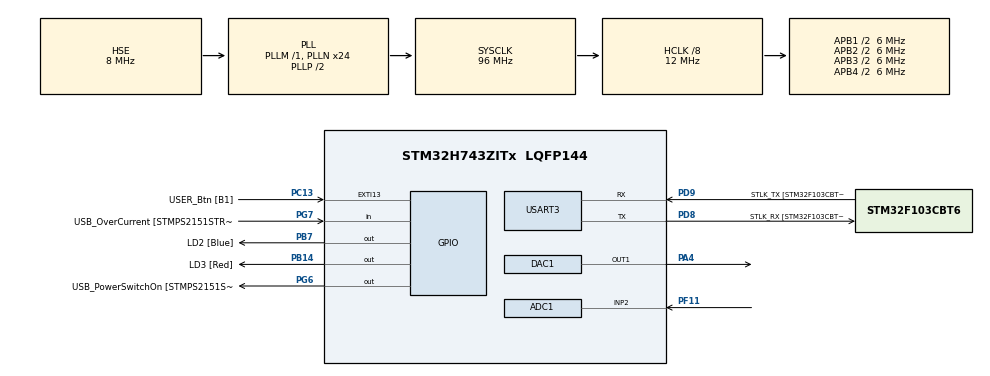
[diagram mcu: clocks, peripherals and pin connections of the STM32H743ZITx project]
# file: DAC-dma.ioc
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ADC1.Channel-3\#ChannelRegularConversion=ADC_CHANNEL_2
ADC1.ClockPrescaler=ADC_CLOCK_SYNC_PCLK_DIV4
ADC1.ContinuousConvMode=DISABLE
ADC1.ConversionDataManagement=ADC_CONVERSIONDATA_DR
ADC1.EOCSelection=ADC_EOC_SEQ_CONV
ADC1.EnableRegularConversion=ENABLE
ADC1.ExternalTrigConv=ADC_EXTERNALTRIG_T3_TRGO
ADC1.Mode=ADC_MODE_INDEPENDENT
ADC1.NbrOfConversionFlag=1
ADC1.OffsetNumber-3\#ChannelRegularConversion=ADC_OFFSET_NONE
ADC1.Overrun=ADC_OVR_DATA_PRESERVED
ADC1.Rank-3\#ChannelRegularConversion=1
ADC1.SamplingTime-3\#ChannelRegularConversion=ADC_SAMPLETIME_387CYCLES_5
ADC1.master=1
DAC1.DAC_Trigger-DAC_OUT1_ExtAndInt=DAC_TRIGGER_T6_TRGO
Dma.DAC1_CH1.0.Direction=DMA_MEMORY_TO_PERIPH
Dma.DAC1_CH1.0.EventEnable=DISABLE
Dma.DAC1_CH1.0.FIFOMode=DMA_FIFOMODE_DISABLE
Dma.DAC1_CH1.0.Instance=DMA1_Stream0
Dma.DAC1_CH1.0.MemDataAlignment=DMA_MDATAALIGN_HALFWORD
Dma.DAC1_CH1.0.MemInc=DMA_MINC_ENABLE
Dma.DAC1_CH1.0.Mode=DMA_CIRCULAR
Dma.DAC1_CH1.0.PeriphDataAlignment=DMA_PDATAALIGN_HALFWORD
Dma.DAC1_CH1.0.PeriphInc=DMA_PINC_DISABLE
Dma.DAC1_CH1.0.Polarity=HAL_DMAMUX_REQ_GEN_RISING
Dma.DAC1_CH1.0.Priority=DMA_PRIORITY_LOW
Dma.DAC1_CH1.0.RequestNumber=1
Dma.DAC1_CH1.0.SignalID=NONE
Dma.DAC1_CH1.0.SyncEnable=DISABLE
Dma.DAC1_CH1.0.SyncPolarity=HAL_DMAMUX_SYNC_NO_EVENT
Dma.DAC1_CH1.0.SyncRequestNumber=1
Dma.DAC1_CH1.0.SyncSignalID=NONE
Dma.Request0=DAC1_CH1
Mcu.Family=STM32H7
Mcu.Name=STM32H743ZITx
Mcu.Package=LQFP144
NVIC.ADC_IRQn=true\:0\:0\:false\:false\:true\:true\:true
NVIC.DMA1_Stream0_IRQn=true\:0\:0\:false\:false\:true\:false\:true
NVIC.PriorityGroup=NVIC_PRIORITYGROUP_4
NVIC.TIM6_DAC_IRQn=true\:0\:0\:true\:false\:true\:true\:true
NVIC.USART3_IRQn=true\:0\:0\:false\:false\:true\:true\:true
PA1.GPIO_Label=RMII_REF_CLK
PA1.Signal=ETH_REF_CLK
PA10.GPIO_Label=USB_ID
PA10.Signal=USB_OTG_FS_ID
PA11.GPIO_Label=USB_DM
PA11.Signal=USB_OTG_FS_DM
PA12.GPIO_Label=USB_DP
PA12.Signal=USB_OTG_FS_DP
PA2.GPIO_Label=RMII_MDIO
PA2.Signal=ETH_MDIO
PA4.Signal=COMP_DAC11_group
PA7.GPIO_Label=RMII_CRS_DV
PA7.Signal=ETH_CRS_DV
PA8.GPIO_Label=USB_SOF [TP1]
PA8.Signal=USB_OTG_FS_SOF
PA9.GPIO_Label=USB_VBUS
PA9.Signal=USB_OTG_FS_VBUS
PB13.GPIO_Label=RMII_TXD1
PB13.Signal=ETH_TXD1
PB14.GPIO_Label=LD3 [Red]
PB14.Signal=GPIO_Output
PB7.GPIO_Label=LD2 [Blue]
PB7.Signal=GPIO_Output
PC1.GPIO_Label=RMII_MDC
PC1.Signal=ETH_MDC
PC13.GPIO_Label=USER_Btn [B1]
PC13.Signal=GPXTI13
PC14-OSC32_IN\ (OSC32_IN).Mode=LSE-External-Oscillator
PC14-OSC32_IN\ (OSC32_IN).Signal=RCC_OSC32_IN
PC15-OSC32_OUT\ (OSC32_OUT).Mode=LSE-External-Oscillator
PC15-OSC32_OUT\ (OSC32_OUT).Signal=RCC_OSC32_OUT
PC4.GPIO_Label=RMII_RXD0
PC4.Signal=ETH_RXD0
PC5.GPIO_Label=RMII_RXD1
PC5.Signal=ETH_RXD1
PD8.GPIO_Label=STLK_RX [STM32F103CBT6_PA3]
PD8.Mode=Asynchronous
PD8.Signal=USART3_TX
PD9.GPIO_Label=STLK_TX [STM32F103CBT6_PA2]
PD9.Mode=Asynchronous
PD9.Signal=USART3_RX
PF11.Mode=IN2-Single-Ended
PF11.Signal=ADC1_INP2
PG11.GPIO_Label=RMII_TX_EN
PG11.Signal=ETH_TX_EN
PG13.GPIO_Label=RMII_TXD0
PG13.Signal=ETH_TXD0
PG6.GPIO_Label=USB_PowerSwitchOn [STMPS2151STR_EN]
PG6.Signal=GPIO_Output
PG7.GPIO_Label=USB_OverCurrent [STMPS2151STR_FAULT]
PG7.Signal=GPIO_Input
PH0-OSC_IN\ (PH0).GPIO_Label=MCO
PH0-OSC_IN\ (PH0).Mode=HSE-External-Clock-Source
PH0-OSC_IN\ (PH0).Signal=RCC_OSC_IN
PH1-OSC_OUT\ (PH1).Mode=HSE-External-Clock-Source
PH1-OSC_OUT\ (PH1).Signal=RCC_OSC_OUT
ProjectManager.HeapSize=0x200
ProjectManager.StackSize=0x400
ProjectManager.TargetToolchain=EWARM V8
RCC.48MHZClocksFreq_Value=24000000
RCC.ADCFreq_Value=24000000
RCC.AHBFreq_Value=216000000
RCC.APB1CLKDivider=RCC_HCLK_DIV4
RCC.APB1Freq_Value=6000000
RCC.APB1TimFreq_Value=108000000
RCC.APB2CLKDivider=RCC_HCLK_DIV2
RCC.APB2Freq_Value=6000000
RCC.APB2TimFreq_Value=216000000
RCC.APB3Freq_Value=6000000
RCC.APB4Freq_Value=6000000
RCC.CortexFreq_Value=96000000
RCC.D1PPRE=RCC_APB3_DIV2
RCC.D2PPRE1=RCC_APB1_DIV2
RCC.D2PPRE2=RCC_APB2_DIV2
RCC.D3PPRE=RCC_APB4_DIV2
RCC.DIVM1=1
RCC.DIVM2=1
RCC.DIVN1=24
RCC.DIVN2=24
RCC.DIVP2=8
RCC.DIVQ1=17
RCC.HCLKFreq_Value=12000000
RCC.HPRE=RCC_HCLK_DIV8
RCC.HSE_VALUE=8000000
RCC.HSI_VALUE=64000000
RCC.PLLM=25
RCC.PLLMUL=RCC_PLL_MUL9
RCC.PLLN=432
RCC.PLLQ=9
RCC.PLLSourceVirtual=RCC_PLLSOURCE_HSE
RCC.PRESCALERUSB=RCC_USBCLKSOURCE_PLL_DIV1_5
RCC.PWR_Regulator_Voltage_Scale=PWR_REGULATOR_VOLTAGE_SCALE1
RCC.SYSCLKFreq_VALUE=96000000
RCC.SYSCLKSource=RCC_SYSCLKSOURCE_PLLCLK
RCC.SYSCLKSourceVirtual=RCC_SYSCLKSOURCE_PLLCLK
RCC.USBCLockSelection=RCC_USBCLKSOURCE_HSI48
RCC.USBFreq_Value=48000000
RCC.VCOOutputFreq_Value=432000000
SH.COMP_DAC11_group.0=DAC1_OUT1,DAC_OUT1_ExtAndInt
TIM3.Period=1
TIM3.Prescaler=95
TIM3.TIM_MasterOutputTrigger=TIM_TRGO_UPDATE
TIM6.Period=1
TIM6.Prescaler=399
TIM6.TIM_MasterOutputTrigger=TIM_TRGO_UPDATE
USART3.DMADisableonRxErrorParam=ADVFEATURE_DMA_ENABLEONRXERROR
USART3.OverrunDisableParam=ADVFEATURE_OVERRUN_ENABLE
USART3.VirtualMode-Asynchronous=VM_ASYNC
VP_TIM3_VS_ClockSourceINT.Mode=Internal
VP_TIM6_VS_ClockSourceINT.Mode=Enable_Timer
board=NUCLEO-H743ZI

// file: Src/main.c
/* USER CODE BEGIN Header */
/**
  ******************************************************************************
  * @file           : main.c
  * @brief          : Main program body
  ******************************************************************************
  * @attention
  *
  * <h2><center>&copy; Copyright (c) 2020 STMicroelectronics.
  * All rights reserved.</center></h2>
  *
  * This software component is licensed by ST under BSD 3-Clause license,
  * the "License"; You may not use this file except in compliance with the
  * License. You may obtain a copy of the License at:
  *                        opensource.org/licenses/BSD-3-Clause
  *
  ******************************************************************************
  */
/* USER CODE END Header */

#include "main.h"

/* USER CODE BEGIN Includes */
#include "string.h"
#include "stdio.h"
#include "stdlib.h"
/* USER CODE END Includes */

ADC_HandleTypeDef hadc1;

DAC_HandleTypeDef hdac1;
DMA_HandleTypeDef hdma_dac1_ch1;

TIM_HandleTypeDef htim3;
TIM_HandleTypeDef htim6;

UART_HandleTypeDef huart3;

void SystemClock_Config(void);
static void MX_GPIO_Init(void);
static void MX_DMA_Init(void);
static void MX_ADC1_Init(void);
static void MX_TIM3_Init(void);
static void MX_TIM6_Init(void);
static void MX_USART3_UART_Init(void);
static void MX_DAC1_Init(void);

/* USER CODE BEGIN 0 */
#define STOPPED 0
#define STARTED 1
// macro for conversion a fixed point value to an integer value. The value 0x8000 is added for rounding
#define FIXED_TO_INT(x) ((x) >> 16)
#define INT_TO_FIXED(x) ((x) << 16)
#define UART_BUF_SIZE 128
#define ADC_BUF_SIZE 256
static uint16_t uart_buf[UART_BUF_SIZE]; // static uint32_t
static uint16_t adc_buf[ADC_BUF_SIZE];
static int state = STOPPED;
uint8_t count = 0;
uint8_t readBuf[1] = {0};

const uint16_t sine_wave_array[32] = {2047, 1648, 1264, 910, 600,  345,
                   156, 39,  0,  39,  156,  345,
                   600, 910, 1264, 1648, 2048, 2447,
                   2831, 3185, 3495, 3750, 3939, 4056,
                   4095, 4056, 3939, 3750, 3495, 3185,
                   2831, 2447};

void HAL_ADC_ConvCpltCallback(ADC_HandleTypeDef* hadc)
{
	//HAL_TIM_Base_Stop(&htim3);
	//HAL_ADC_Stop(&hadc1);
	//HAL_ADCEx_MultiModeStop_DMA(&hadc1);
	const int threshold = (1 << 15); // 32768 find a trigger condition

	if(state == STARTED)
	{
	HAL_GPIO_TogglePin(GPIOB, BLUE_LED);
        if(hadc->Instance == ADC1) //check if the interrupt comes from ACD1
          {
           adc_buf[count] = HAL_ADC_GetValue(&hadc1);
           count++;
           if(count == UART_BUF_SIZE){
              memcpy(uart_buf, adc_buf, UART_BUF_SIZE * sizeof(uint16_t));
              //uart_buf[0] |= 0x8000; // mark the first sample in the frame
              HAL_UART_Transmit(&huart3, (uint8_t*)uart_buf, UART_BUF_SIZE * sizeof(uint16_t), HAL_MAX_DELAY);
              count = 0;
              state = STOPPED;
                                     }

	     /*for(int i = 0; i <= (ADC_BUF_SIZE - UART_BUF_SIZE); i++){
               uint16_t sample0_0 = adc_buf[i];// & 0x0000FFFF;; // 16BIT
               //uint32_t sample0_1 = adc_buf[i + 1] & 0x0000FFFF;
               if(sample0_0 >= threshold){ // && sample0_1 >= threshold) // the trigger condition
                  memcpy(uart_buf, adc_buf + i, UART_BUF_SIZE * sizeof(uint16_t));
                  //uart_buf[0] |= 0x8000; // mark the first sample in the frame
                  //CDC_Transmit_FS((uint8_t*)vcp_buf, VCP_BUF_SIZE * sizeof(uint32_t));
                  HAL_UART_Transmit(&huart3, (uint8_t*)uart_buf, UART_BUF_SIZE * sizeof(uint16_t), HAL_MAX_DELAY);
                 // HAL_UART_Transmit(&huart3, (uint8_t*)uart_buf, strlen(uart_buf), HAL_MAX_DELAY);
                  state = STOPPED;
                                          }
                                                                      }
                                      }
           count++;
           if(count == UART_BUF_SIZE){
              count = 0;
                                     }*/
          }
          HAL_GPIO_TogglePin(GPIOB, BLUE_LED);
	}
	static int cnt = 0;
	if((cnt++) % 128 == 0)
	  {
           HAL_GPIO_TogglePin(GPIOB, RED_LED); //Toggle the state of pin
	  }
}

void HAL_UART_RxCpltCallback(UART_HandleTypeDef *huart){
    //HAL_UART_Receive(&huart3, (uint8_t*)readBuf, 1, HAL_MAX_DELAY);
    uint8_t var = atoi((char*)(readBuf));
    if (var == 1){
     state = STARTED;
                 }
//    else state = STOPPED;
    readBuf[0] = 0;
    HAL_UART_Receive_IT(&huart3,readBuf,1);
                                                       }
/* USER CODE END 0 */

int main(void)
{

  /* MCU Configuration--------------------------------------------------------*/

  /* Reset of all peripherals, Initializes the Flash interface and the Systick. */
  HAL_Init();

  /* Configure the system clock */
  SystemClock_Config();

  /* Initialize all configured peripherals */
  MX_GPIO_Init();
  MX_DMA_Init();
  MX_ADC1_Init();
  MX_TIM3_Init();
  MX_TIM6_Init();
  MX_USART3_UART_Init();
  MX_DAC1_Init();
  /* USER CODE BEGIN 2 */
  HAL_TIM_Base_Start(&htim6);
  HAL_DAC_Start_DMA(&hdac1, DAC_CHANNEL_1, (uint32_t*)sine_wave_array, 32, DAC_ALIGN_12B_R);
  HAL_ADC_Start_IT(&hadc1);
  HAL_TIM_Base_Start_IT(&htim3);
  HAL_UART_Receive_IT(&huart3,readBuf,1);
  /* USER CODE END 2 */

  /* Infinite loop */
  while (1)
  {

  }
}

void SystemClock_Config(void)
{
  RCC_OscInitTypeDef RCC_OscInitStruct = {0};
  RCC_ClkInitTypeDef RCC_ClkInitStruct = {0};
  RCC_PeriphCLKInitTypeDef PeriphClkInitStruct = {0};

  /** Supply configuration update enable
  */
  HAL_PWREx_ConfigSupply(PWR_LDO_SUPPLY);
  /** Configure the main internal regulator output voltage
  */
  __HAL_PWR_VOLTAGESCALING_CONFIG(PWR_REGULATOR_VOLTAGE_SCALE1);

  while(!__HAL_PWR_GET_FLAG(PWR_FLAG_VOSRDY)) {}
  /** Initializes the CPU, AHB and APB busses clocks
  */
  RCC_OscInitStruct.OscillatorType = RCC_OSCILLATORTYPE_HSE;
  RCC_OscInitStruct.HSEState = RCC_HSE_BYPASS;
  RCC_OscInitStruct.PLL.PLLState = RCC_PLL_ON;
  RCC_OscInitStruct.PLL.PLLSource = RCC_PLLSOURCE_HSE;
  RCC_OscInitStruct.PLL.PLLM = 1;
  RCC_OscInitStruct.PLL.PLLN = 24;
  RCC_OscInitStruct.PLL.PLLP = 2;
  RCC_OscInitStruct.PLL.PLLQ = 17;
  RCC_OscInitStruct.PLL.PLLR = 2;
  RCC_OscInitStruct.PLL.PLLRGE = RCC_PLL1VCIRANGE_3;
  RCC_OscInitStruct.PLL.PLLVCOSEL = RCC_PLL1VCOWIDE;
  RCC_OscInitStruct.PLL.PLLFRACN = 0;
  if (HAL_RCC_OscConfig(&RCC_OscInitStruct) != HAL_OK)
  {
    Error_Handler();
  }
  /** Initializes the CPU, AHB and APB busses clocks
  */
  RCC_ClkInitStruct.ClockType = RCC_CLOCKTYPE_HCLK|RCC_CLOCKTYPE_SYSCLK
                              |RCC_CLOCKTYPE_PCLK1|RCC_CLOCKTYPE_PCLK2
                              |RCC_CLOCKTYPE_D3PCLK1|RCC_CLOCKTYPE_D1PCLK1;
  RCC_ClkInitStruct.SYSCLKSource = RCC_SYSCLKSOURCE_PLLCLK;
  RCC_ClkInitStruct.SYSCLKDivider = RCC_SYSCLK_DIV1;
  RCC_ClkInitStruct.AHBCLKDivider = RCC_HCLK_DIV8;
  RCC_ClkInitStruct.APB3CLKDivider = RCC_APB3_DIV2;
  RCC_ClkInitStruct.APB1CLKDivider = RCC_APB1_DIV2;
  RCC_ClkInitStruct.APB2CLKDivider = RCC_APB2_DIV2;
  RCC_ClkInitStruct.APB4CLKDivider = RCC_APB4_DIV2;

  if (HAL_RCC_ClockConfig(&RCC_ClkInitStruct, FLASH_LATENCY_0) != HAL_OK)
  {
    Error_Handler();
  }
  PeriphClkInitStruct.PeriphClockSelection = RCC_PERIPHCLK_USART3;
  PeriphClkInitStruct.Usart234578ClockSelection = RCC_USART234578CLKSOURCE_D2PCLK1;
  if (HAL_RCCEx_PeriphCLKConfig(&PeriphClkInitStruct) != HAL_OK)
  {
    Error_Handler();
  }
}

static void MX_ADC1_Init(void)
{

  ADC_MultiModeTypeDef multimode = {0};
  ADC_ChannelConfTypeDef sConfig = {0};

  /** Common config
  */
  hadc1.Instance = ADC1;
  hadc1.Init.ClockPrescaler = ADC_CLOCK_SYNC_PCLK_DIV4;
  hadc1.Init.Resolution = ADC_RESOLUTION_16B;
  hadc1.Init.ScanConvMode = ADC_SCAN_DISABLE;
  hadc1.Init.EOCSelection = ADC_EOC_SEQ_CONV;
  hadc1.Init.LowPowerAutoWait = DISABLE;
  hadc1.Init.ContinuousConvMode = DISABLE;
  hadc1.Init.NbrOfConversion = 1;
  hadc1.Init.DiscontinuousConvMode = DISABLE;
  hadc1.Init.ExternalTrigConv = ADC_EXTERNALTRIG_T3_TRGO;
  hadc1.Init.ExternalTrigConvEdge = ADC_EXTERNALTRIGCONVEDGE_RISING;
  hadc1.Init.ConversionDataManagement = ADC_CONVERSIONDATA_DR;
  hadc1.Init.Overrun = ADC_OVR_DATA_PRESERVED;
  hadc1.Init.LeftBitShift = ADC_LEFTBITSHIFT_NONE;
  hadc1.Init.OversamplingMode = DISABLE;
  if (HAL_ADC_Init(&hadc1) != HAL_OK)
  {
    Error_Handler();
  }
  /** Configure the ADC multi-mode
  */
  multimode.Mode = ADC_MODE_INDEPENDENT;
  if (HAL_ADCEx_MultiModeConfigChannel(&hadc1, &multimode) != HAL_OK)
  {
    Error_Handler();
  }
  /** Configure Regular Channel
  */
  sConfig.Channel = ADC_CHANNEL_2;
  sConfig.Rank = ADC_REGULAR_RANK_1;
  sConfig.SamplingTime = ADC_SAMPLETIME_387CYCLES_5;
  sConfig.SingleDiff = ADC_SINGLE_ENDED;
  sConfig.OffsetNumber = ADC_OFFSET_NONE;
  sConfig.Offset = 0;
  if (HAL_ADC_ConfigChannel(&hadc1, &sConfig) != HAL_OK)
  {
    Error_Handler();
  }

}

static void MX_DAC1_Init(void)
{

  DAC_ChannelConfTypeDef sConfig = {0};

  /** DAC Initialization
  */
  hdac1.Instance = DAC1;
  if (HAL_DAC_Init(&hdac1) != HAL_OK)
  {
    Error_Handler();
  }
  /** DAC channel OUT1 config
  */
  sConfig.DAC_SampleAndHold = DAC_SAMPLEANDHOLD_DISABLE;
  sConfig.DAC_Trigger = DAC_TRIGGER_T6_TRGO;
  sConfig.DAC_OutputBuffer = DAC_OUTPUTBUFFER_ENABLE;
  sConfig.DAC_ConnectOnChipPeripheral = DAC_CHIPCONNECT_ENABLE;
  sConfig.DAC_UserTrimming = DAC_TRIMMING_FACTORY;
  if (HAL_DAC_ConfigChannel(&hdac1, &sConfig, DAC_CHANNEL_1) != HAL_OK)
  {
    Error_Handler();
  }

}

static void MX_TIM3_Init(void)
{

  TIM_ClockConfigTypeDef sClockSourceConfig = {0};
  TIM_MasterConfigTypeDef sMasterConfig = {0};

  /* USER CODE BEGIN TIM3_Init 1 */
    // ADC TIMER
  /* USER CODE END TIM3_Init 1 */
  htim3.Instance = TIM3;
  htim3.Init.Prescaler = 95;
  htim3.Init.CounterMode = TIM_COUNTERMODE_UP;
  htim3.Init.Period = 1;
  htim3.Init.ClockDivision = TIM_CLOCKDIVISION_DIV1;
  htim3.Init.AutoReloadPreload = TIM_AUTORELOAD_PRELOAD_DISABLE;
  if (HAL_TIM_Base_Init(&htim3) != HAL_OK)
  {
    Error_Handler();
  }
  sClockSourceConfig.ClockSource = TIM_CLOCKSOURCE_INTERNAL;
  if (HAL_TIM_ConfigClockSource(&htim3, &sClockSourceConfig) != HAL_OK)
  {
    Error_Handler();
  }
  sMasterConfig.MasterOutputTrigger = TIM_TRGO_UPDATE;
  sMasterConfig.MasterSlaveMode = TIM_MASTERSLAVEMODE_DISABLE;
  if (HAL_TIMEx_MasterConfigSynchronization(&htim3, &sMasterConfig) != HAL_OK)
  {
    Error_Handler();
  }

}

static void MX_TIM6_Init(void)
{

  TIM_MasterConfigTypeDef sMasterConfig = {0};

  /* USER CODE BEGIN TIM6_Init 1 */
    // DAC TIMER
  /* USER CODE END TIM6_Init 1 */
  htim6.Instance = TIM6;
  htim6.Init.Prescaler = 959;
  htim6.Init.CounterMode = TIM_COUNTERMODE_UP;
  htim6.Init.Period = 1;
  htim6.Init.AutoReloadPreload = TIM_AUTORELOAD_PRELOAD_DISABLE;
  if (HAL_TIM_Base_Init(&htim6) != HAL_OK)
  {
    Error_Handler();
  }
  sMasterConfig.MasterOutputTrigger = TIM_TRGO_UPDATE;
  sMasterConfig.MasterSlaveMode = TIM_MASTERSLAVEMODE_DISABLE;
  if (HAL_TIMEx_MasterConfigSynchronization(&htim6, &sMasterConfig) != HAL_OK)
  {
    Error_Handler();
  }

}

static void MX_USART3_UART_Init(void)
{

  huart3.Instance = USART3;
  huart3.Init.BaudRate = 115200;
  huart3.Init.WordLength = UART_WORDLENGTH_8B;
  huart3.Init.StopBits = UART_STOPBITS_1;
  huart3.Init.Parity = UART_PARITY_NONE;
  huart3.Init.Mode = UART_MODE_TX_RX;
  huart3.Init.HwFlowCtl = UART_HWCONTROL_NONE;
  huart3.Init.OverSampling = UART_OVERSAMPLING_16;
  huart3.Init.OneBitSampling = UART_ONE_BIT_SAMPLE_DISABLE;
  huart3.Init.ClockPrescaler = UART_PRESCALER_DIV1;
  huart3.AdvancedInit.AdvFeatureInit = UART_ADVFEATURE_NO_INIT;
  if (HAL_UART_Init(&huart3) != HAL_OK)
  {
    Error_Handler();
  }
  if (HAL_UARTEx_SetTxFifoThreshold(&huart3, UART_TXFIFO_THRESHOLD_1_8) != HAL_OK)
  {
    Error_Handler();
  }
  if (HAL_UARTEx_SetRxFifoThreshold(&huart3, UART_RXFIFO_THRESHOLD_1_8) != HAL_OK)
  {
    Error_Handler();
  }
  if (HAL_UARTEx_DisableFifoMode(&huart3) != HAL_OK)
  {
    Error_Handler();
  }

}

static void MX_DMA_Init(void)
{

  /* DMA controller clock enable */
  __HAL_RCC_DMA1_CLK_ENABLE();

  /* DMA interrupt init */
  /* DMA1_Stream0_IRQn interrupt configuration */
  HAL_NVIC_SetPriority(DMA1_Stream0_IRQn, 0, 0);
  HAL_NVIC_EnableIRQ(DMA1_Stream0_IRQn);

}

static void MX_GPIO_Init(void)
{
  GPIO_InitTypeDef GPIO_InitStruct = {0};

  /* GPIO Ports Clock Enable */
  __HAL_RCC_GPIOC_CLK_ENABLE();
  __HAL_RCC_GPIOH_CLK_ENABLE();
  __HAL_RCC_GPIOA_CLK_ENABLE();
  __HAL_RCC_GPIOF_CLK_ENABLE();
  __HAL_RCC_GPIOB_CLK_ENABLE();
  __HAL_RCC_GPIOD_CLK_ENABLE();
  __HAL_RCC_GPIOG_CLK_ENABLE();

  /*Configure GPIO pin Output Level */
  HAL_GPIO_WritePin(GPIOB, LD3_Pin|LD2_Pin, GPIO_PIN_RESET);

  /*Configure GPIO pin Output Level */
  HAL_GPIO_WritePin(USB_PowerSwitchOn_GPIO_Port, USB_PowerSwitchOn_Pin, GPIO_PIN_RESET);

  /*Configure GPIO pin : USER_Btn_Pin */
  GPIO_InitStruct.Pin = USER_Btn_Pin;
  GPIO_InitStruct.Mode = GPIO_MODE_IT_RISING;
  GPIO_InitStruct.Pull = GPIO_NOPULL;
  HAL_GPIO_Init(USER_Btn_GPIO_Port, &GPIO_InitStruct);

  /*Configure GPIO pins : RMII_MDC_Pin RMII_RXD0_Pin RMII_RXD1_Pin */
  GPIO_InitStruct.Pin = RMII_MDC_Pin|RMII_RXD0_Pin|RMII_RXD1_Pin;
  GPIO_InitStruct.Mode = GPIO_MODE_AF_PP;
  GPIO_InitStruct.Pull = GPIO_NOPULL;
  GPIO_InitStruct.Speed = GPIO_SPEED_FREQ_LOW;
  GPIO_InitStruct.Alternate = GPIO_AF11_ETH;
  HAL_GPIO_Init(GPIOC, &GPIO_InitStruct);

  /*Configure GPIO pins : RMII_REF_CLK_Pin RMII_MDIO_Pin RMII_CRS_DV_Pin */
  GPIO_InitStruct.Pin = RMII_REF_CLK_Pin|RMII_MDIO_Pin|RMII_CRS_DV_Pin;
  GPIO_InitStruct.Mode = GPIO_MODE_AF_PP;
  GPIO_InitStruct.Pull = GPIO_NOPULL;
  GPIO_InitStruct.Speed = GPIO_SPEED_FREQ_LOW;
  GPIO_InitStruct.Alternate = GPIO_AF11_ETH;
  HAL_GPIO_Init(GPIOA, &GPIO_InitStruct);

  /*Configure GPIO pin : RMII_TXD1_Pin */
  GPIO_InitStruct.Pin = RMII_TXD1_Pin;
  GPIO_InitStruct.Mode = GPIO_MODE_AF_PP;
  GPIO_InitStruct.Pull = GPIO_NOPULL;
  GPIO_InitStruct.Speed = GPIO_SPEED_FREQ_LOW;
  GPIO_InitStruct.Alternate = GPIO_AF11_ETH;
  HAL_GPIO_Init(RMII_TXD1_GPIO_Port, &GPIO_InitStruct);

  /*Configure GPIO pins : LD3_Pin LD2_Pin */
  GPIO_InitStruct.Pin = LD3_Pin|LD2_Pin;
  GPIO_InitStruct.Mode = GPIO_MODE_OUTPUT_PP;
  GPIO_InitStruct.Pull = GPIO_NOPULL;
  GPIO_InitStruct.Speed = GPIO_SPEED_FREQ_LOW;
  HAL_GPIO_Init(GPIOB, &GPIO_InitStruct);

  /*Configure GPIO pin : USB_PowerSwitchOn_Pin */
  GPIO_InitStruct.Pin = USB_PowerSwitchOn_Pin;
  GPIO_InitStruct.Mode = GPIO_MODE_OUTPUT_PP;
  GPIO_InitStruct.Pull = GPIO_NOPULL;
  GPIO_InitStruct.Speed = GPIO_SPEED_FREQ_LOW;
  HAL_GPIO_Init(USB_PowerSwitchOn_GPIO_Port, &GPIO_InitStruct);

  /*Configure GPIO pin : USB_OverCurrent_Pin */
  GPIO_InitStruct.Pin = USB_OverCurrent_Pin;
  GPIO_InitStruct.Mode = GPIO_MODE_INPUT;
  GPIO_InitStruct.Pull = GPIO_NOPULL;
  HAL_GPIO_Init(USB_OverCurrent_GPIO_Port, &GPIO_InitStruct);

  /*Configure GPIO pins : USB_SOF_Pin USB_ID_Pin USB_DM_Pin USB_DP_Pin */
  GPIO_InitStruct.Pin = USB_SOF_Pin|USB_ID_Pin|USB_DM_Pin|USB_DP_Pin;
  GPIO_InitStruct.Mode = GPIO_MODE_AF_PP;
  GPIO_InitStruct.Pull = GPIO_NOPULL;
  GPIO_InitStruct.Speed = GPIO_SPEED_FREQ_LOW;
  GPIO_InitStruct.Alternate = GPIO_AF10_OTG1_FS;
  HAL_GPIO_Init(GPIOA, &GPIO_InitStruct);

  /*Configure GPIO pins : RMII_TX_EN_Pin RMII_TXD0_Pin */
  GPIO_InitStruct.Pin = RMII_TX_EN_Pin|RMII_TXD0_Pin;
  GPIO_InitStruct.Mode = GPIO_MODE_AF_PP;
  GPIO_InitStruct.Pull = GPIO_NOPULL;
  GPIO_InitStruct.Speed = GPIO_SPEED_FREQ_LOW;
  GPIO_InitStruct.Alternate = GPIO_AF11_ETH;
  HAL_GPIO_Init(GPIOG, &GPIO_InitStruct);

}

void Error_Handler(void)
{
}

/************************ (C) COPYRIGHT STMicroelectronics *****END OF FILE****/
